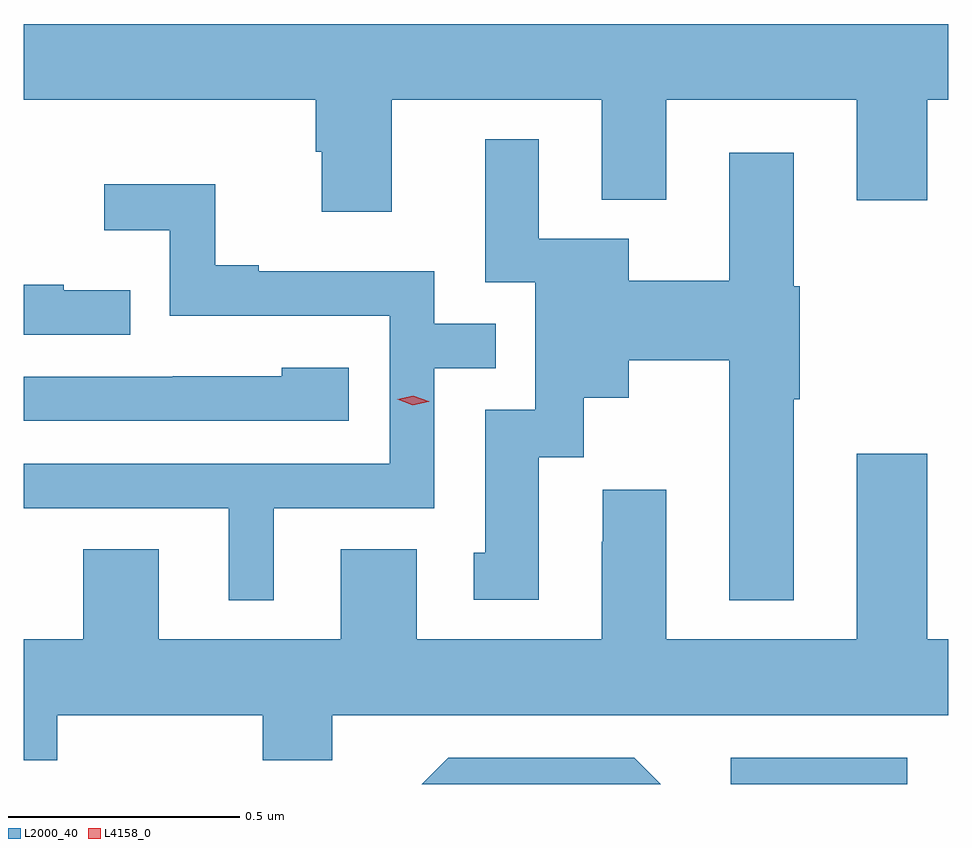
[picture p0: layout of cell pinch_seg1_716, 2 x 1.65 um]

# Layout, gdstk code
import gdstk
lib = gdstk.Library(unit=1e-6, precision=1e-09)
def R(c, l, rs):  # rectangles x0, y0, x1, y1
    for r in rs: c.add(gdstk.rectangle(r[:2], r[2:], *l))
def P(c, l, *ps):  # polygons
    for p in ps: c.add(gdstk.Polygon(p, *l))
L2000_40 = (2000, 40)
L4158_0 = (4158, 0)

pinch_seg1_716 = lib.new_cell('pinch_seg1_716')
R(pinch_seg1_716, L2000_40, [(756.243,575.559,756.625,575.616)])
P(pinch_seg1_716, L2000_40, [(754.713,577.04),(755.345,577.04),(755.345,576.927),(755.357,576.927),(755.357,576.798),(755.509,576.798),(755.509,577.04),(755.963,577.04),(755.963,576.824),(756.103,576.824),(756.103,577.04),(756.515,577.04),(756.515,576.822),(756.668,576.822),(756.668,577.04),(756.713,577.04),(756.713,577.204),(754.713,577.204)],
  [(756.379,576.392),(756.392,576.392),(756.392,576.636),(756.379,576.636),(756.379,576.925),(756.239,576.925),(756.239,576.648),(756.022,576.648),(756.022,576.739),(755.827,576.739),(755.827,576.955),(755.711,576.955),(755.711,576.645),(755.82,576.645),(755.82,576.369),(755.711,576.369),(755.711,576.06),(755.687,576.06),(755.687,575.958),(755.827,575.958),(755.827,576.266),(755.925,576.266),(755.925,576.395),(756.022,576.395),(756.022,576.476),(756.239,576.476),(756.239,575.957),(756.379,575.957)],
  [(755.254,576.156),(755.601,576.156),(755.601,576.459),(755.734,576.459),(755.734,576.555),(755.601,576.555),(755.601,576.669),(755.221,576.669),(755.221,576.682),(755.127,576.682),(755.127,576.857),(754.887,576.857),(754.887,576.758),(755.028,576.758),(755.028,576.573),(755.505,576.573),(755.505,576.252),(754.713,576.252),(754.713,576.156),(755.156,576.156),(755.156,575.957),(755.254,575.957)],
  [(754.943,576.628),(754.799,576.628),(754.799,576.64),(754.713,576.64),(754.713,576.531),(754.943,576.531)],
  [(755.416,576.46),(755.271,576.46),(755.271,576.442),(755.035,576.442),(755.035,576.441),(754.713,576.441),(754.713,576.345),(755.416,576.345)],
  [(756.713,575.872),(756.668,575.872),(756.668,576.274),(756.515,576.274),(756.515,575.872),(756.103,575.872),(756.103,576.196),(755.966,576.196),(755.966,576.083),(755.963,576.083),(755.963,575.872),(755.563,575.872),(755.563,576.067),(755.399,576.067),(755.399,575.872),(755.005,575.872),(755.005,576.067),(754.841,576.067),(754.841,575.872),(754.713,575.872),(754.713,575.61),(754.785,575.61),(754.785,575.708),(755.23,575.708),(755.23,575.61),(755.38,575.61),(755.38,575.708),(756.713,575.708)],
  [(756.034,575.616),(755.631,575.616),(755.574,575.559),(756.091,575.559)])
P(pinch_seg1_716, L4158_0, [(755.554,576.379),(755.521,576.392),(755.521,576.392),(755.521,576.392),(755.556,576.399),(755.589,576.387),(755.59,576.387),(755.589,576.386)])

lib.write_gds('pinch_seg1_716.gds')
